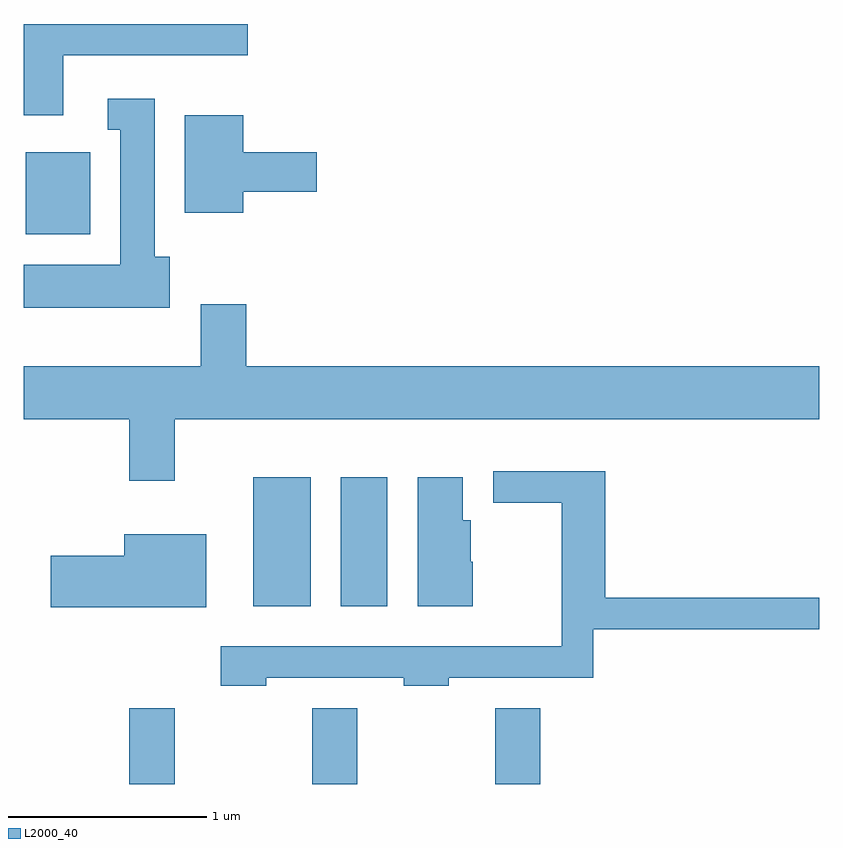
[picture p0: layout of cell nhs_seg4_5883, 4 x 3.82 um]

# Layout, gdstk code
import gdstk
lib = gdstk.Library(unit=1e-6, precision=1e-09)
def R(c, l, rs):  # rectangles x0, y0, x1, y1
    for r in rs: c.add(gdstk.rectangle(r[:2], r[2:], *l))
def A(c, l, x, y, w, h, nx, ny, dx, dy):  # array of equal rectangles
    R(c, l, [(x+i*dx, y+j*dy, x+i*dx+w, y+j*dy+h) for i in range(nx) for j in range(ny)])
def P(c, l, *ps):  # polygons
    for p in ps: c.add(gdstk.Polygon(p, *l))
L2000_40 = (2000, 40)

nhs_seg4_5883 = lib.new_cell('nhs_seg4_5883')
A(nhs_seg4_5883, L2000_40, 358.141, 1323.982, 0.228, 0.382, 3, 1, 0.92, 0)
R(nhs_seg4_5883, L2000_40, [(358.766,1324.876,359.054,1325.524), (359.206,1324.876,359.439,1325.524), (357.621,1326.746,357.944,1327.159)])
P(nhs_seg4_5883, L2000_40, [(357.809,1327.646),(358.738,1327.646),(358.738,1327.804),(357.611,1327.804),(357.611,1327.346),(357.809,1327.346)],
  [(358.344,1326.634),(358.269,1326.634),(358.269,1327.429),(358.033,1327.429),(358.033,1327.271),(358.096,1327.271),(358.096,1326.594),(357.611,1326.594),(357.611,1326.376),(358.344,1326.376)],
  [(358.714,1326.961),(359.084,1326.961),(359.084,1327.159),(358.714,1327.159),(358.714,1327.344),(358.421,1327.344),(358.421,1326.856),(358.714,1326.856)],
  [(358.369,1325.816),(361.611,1325.816),(361.611,1326.084),(358.729,1326.084),(358.729,1326.394),(358.501,1326.394),(358.501,1326.084),(357.611,1326.084),(357.611,1325.816),(358.141,1325.816),(358.141,1325.506),(358.369,1325.506)],
  [(358.829,1324.516),(359.521,1324.516),(359.521,1324.476),(359.749,1324.476),(359.749,1324.516),(360.474,1324.516),(360.474,1324.761),(361.611,1324.761),(361.611,1324.919),(360.534,1324.919),(360.534,1325.554),(359.973,1325.554),(359.973,1325.396),(360.316,1325.396),(360.316,1324.674),(358.601,1324.674),(358.601,1324.476),(358.829,1324.476)],
  [(359.869,1325.1),(359.859,1325.1),(359.859,1325.309),(359.819,1325.309),(359.819,1325.524),(359.591,1325.524),(359.591,1324.876),(359.869,1324.876)],
  [(358.529,1325.239),(358.116,1325.239),(358.116,1325.129),(357.746,1325.129),(357.746,1324.871),(358.529,1324.871)])

lib.write_gds('nhs_seg4_5883.gds')
